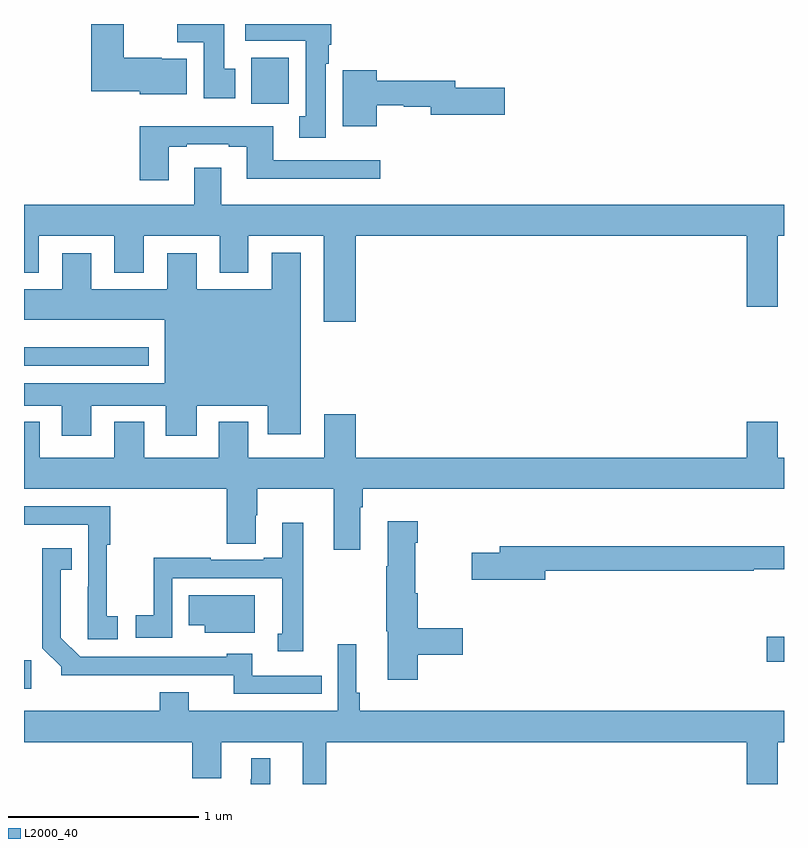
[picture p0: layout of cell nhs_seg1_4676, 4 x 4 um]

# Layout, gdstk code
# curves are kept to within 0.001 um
import gdstk
lib = gdstk.Library(unit=1e-6, precision=1e-09)
def R(c, l, rs):  # rectangles x0, y0, x1, y1
    for r in rs: c.add(gdstk.rectangle(r[:2], r[2:], *l))
def P(c, l, *ps):  # polygons
    for p in ps: c.add(gdstk.Polygon(p, *l))
L2000_40 = (2000, 40)

nhs_seg1_4676 = lib.new_cell('nhs_seg1_4676')
R(nhs_seg1_4676, L2000_40, [(365,530.7,365.039,530.851), (368.91,530.843,369,530.973), (365,532.401,365.656,532.498), (366.197,533.78,366.394,534.022)])
P(nhs_seg1_4676, L2000_40, [(366.589,533.99),(366.604,533.99),(366.604,534.09),(366.616,534.09),(366.616,534.199),(366.165,534.199),(366.165,534.11),(366.482,534.11),(366.482,533.714),(366.449,533.714),(366.449,533.601),(366.589,533.601)],
  [(366.112,533.964),(366.055,533.964),(366.055,534.199),(365.806,534.199),(365.806,534.104),(365.945,534.104),(365.945,533.808),(366.112,533.808)],
  [(365.857,534.016),(365.724,534.016),(365.724,534.022),(365.524,534.022),(365.524,534.199),(365.354,534.199),(365.354,533.846),(365.61,533.846),(365.61,533.828),(365.857,533.828)],
  [(366.856,533.772),(366.999,533.772),(366.999,533.764),(367.142,533.764),(367.142,533.722),(367.531,533.722),(367.531,533.864),(367.27,533.864),(367.27,533.9),(366.856,533.9),(366.856,533.956),(366.677,533.956),(366.677,533.66),(366.856,533.66)],
  [(365.761,533.553),(365.857,533.553),(365.857,533.565),(366.077,533.565),(366.077,533.553),(366.173,533.553),(366.173,533.384),(366.874,533.384),(366.874,533.481),(366.313,533.481),(366.313,533.662),(365.609,533.662),(365.609,533.376),(365.761,533.376)],
  [(366.037,533.443),(365.897,533.443),(365.897,533.248),(365,533.248),(365,532.89),(365.077,532.89),(365.077,533.084),(365.474,533.084),(365.474,532.89),(365.629,532.89),(365.629,533.084),(366.029,533.084),(366.029,532.89),(366.181,532.89),(366.181,533.084),(366.578,533.084),(366.578,532.632),(366.746,532.632),(366.746,533.084),(368.804,533.084),(368.804,532.71),(368.968,532.71),(368.968,533.084),(369,533.084),(369,533.248),(366.037,533.248)],
  [(365.353,532.19),(365.747,532.19),(365.747,532.032),(365.908,532.032),(365.908,532.19),(366.284,532.19),(366.284,532.04),(366.457,532.04),(366.457,532.996),(366.305,532.996),(366.305,532.804),(365.908,532.804),(365.908,532.993),(365.753,532.993),(365.753,532.804),(365.353,532.804),(365.353,532.993),(365.201,532.993),(365.201,532.804),(365,532.804),(365,532.643),(365.741,532.643),(365.741,532.309),(365,532.309),(365,532.19),(365.198,532.19),(365.198,532.032),(365.353,532.032)],
  [(366.769,531.656),(366.782,531.656),(366.782,531.752),(369,531.752),(369,531.916),(368.968,531.916),(368.968,532.105),(368.804,532.105),(368.804,531.916),(366.746,531.916),(366.746,532.144),(366.581,532.144),(366.581,531.916),(366.181,531.916),(366.181,532.105),(366.026,532.105),(366.026,531.916),(365.632,531.916),(365.632,532.105),(365.474,532.105),(365.474,531.916),(365.083,531.916),(365.083,532.105),(365,532.105),(365,531.752),(366.068,531.752),(366.068,531.463),(366.22,531.463),(366.22,531.614),(366.228,531.614),(366.228,531.752),(366.629,531.752),(366.629,531.432),(366.769,531.432)],
  [(365.494,531.081),(365.436,531.081),(365.436,531.457),(365.453,531.457),(365.453,531.66),(365,531.66),(365,531.564),(365.337,531.564),(365.337,531.236),(365.336,531.236),(365.336,530.961),(365.494,530.961)],
  [(367.073,530.878),(367.309,530.878),(367.309,531.02),(367.073,531.02),(367.073,531.203),(367.06,531.203),(367.06,531.47),(367.073,531.47),(367.073,531.583),(366.914,531.583),(366.914,531.344),(366.907,531.344),(366.907,531.003),(366.914,531.003),(366.914,530.748),(367.073,530.748)],
  [(366.469,531.574),(366.359,531.574),(366.359,531.391),(366.263,531.391),(366.263,531.378),(365.984,531.378),(365.984,531.391),(365.683,531.391),(365.683,531.086),(365.589,531.086),(365.589,530.97),(365.781,530.97),(365.781,531.282),(366.359,531.282),(366.359,530.991),(366.335,530.991),(366.335,530.897),(366.469,530.897)],
  [(367.744,531.322),(368.84,531.322),(368.84,531.33),(369,531.33),(369,531.451),(367.505,531.451),(367.505,531.417),(367.356,531.417),(367.356,531.275),(367.744,531.275)],
  [(366.566,530.769),(366.202,530.769),(366.202,530.884),(366.066,530.884),(366.066,530.868),(365.295,530.868),(365.194,530.969),(365.194,531.326),(365.252,531.326),(365.252,531.439),(365.097,531.439),(365.097,530.914),(365.196,530.815),(365.196,530.771),(366.103,530.772),(366.103,530.673),(366.566,530.673)],
  [(366.214,531.193),(365.866,531.193),(365.866,531.035),(365.951,531.035),(365.951,530.996),(366.214,530.996)],
  [(365.866,530.683),(365.714,530.683),(365.714,530.584),(365,530.584),(365,530.42),(365.885,530.42),(365.885,530.228),(366.037,530.228),(366.037,530.42),(366.467,530.42),(366.467,530.199),(366.59,530.199),(366.59,530.42),(368.804,530.42),(368.804,530.199),(368.968,530.199),(368.968,530.42),(369,530.42),(369,530.584),(366.767,530.584),(366.767,530.68),(366.748,530.68),(366.748,530.935),(366.651,530.935),(366.651,530.584),(365.866,530.584)],
  [(366.295,530.335),(366.197,530.335),(366.197,530.225),(366.193,530.225),(366.193,530.199),(366.295,530.199)])

lib.write_gds('nhs_seg1_4676.gds')
